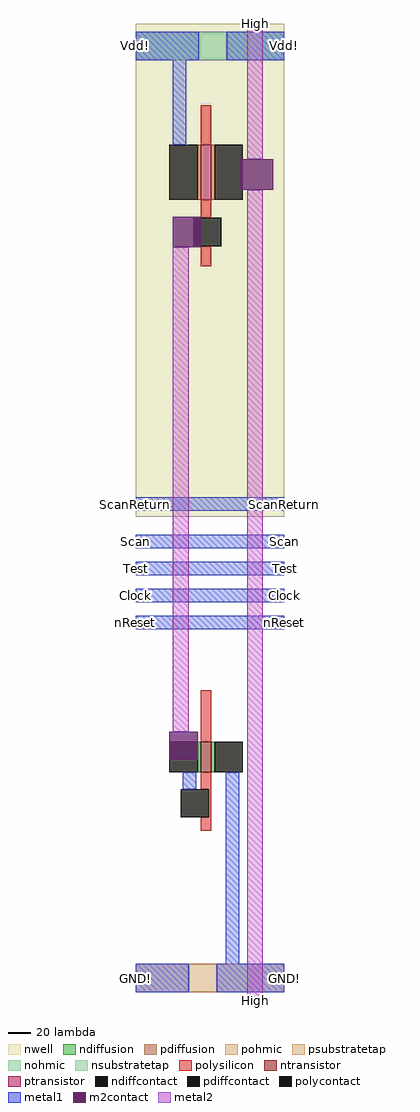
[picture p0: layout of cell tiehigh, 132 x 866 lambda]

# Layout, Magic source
magic
tech tsmc180
<< nwell >>
rect 0 429 132 866
<< polysilicon >>
rect 58 759 67 794
rect 58 694 67 710
rect 58 651 67 669
rect 58 229 67 275
rect 58 187 67 202
rect 65 162 67 187
rect 58 150 67 162
<< ndiffusion >>
rect 55 202 58 229
rect 67 202 70 229
<< pdiffusion >>
rect 55 710 58 759
rect 67 710 70 759
<< pohmic >>
rect 0 7 47 32
rect 72 7 132 32
<< nohmic >>
rect 0 834 56 859
rect 81 834 132 859
<< ntransistor >>
rect 58 202 67 229
<< ptransistor >>
rect 58 710 67 759
<< polycontact >>
rect 51 669 76 694
rect 40 162 65 187
<< ndiffcontact >>
rect 30 202 55 229
rect 70 202 95 229
<< pdiffcontact >>
rect 30 710 55 759
rect 70 710 95 759
<< psubstratetap >>
rect 47 7 72 32
<< nsubstratetap >>
rect 56 834 81 859
<< metal1 >>
rect 0 834 56 859
rect 81 834 132 859
rect 33 759 45 834
rect 0 434 132 446
rect 0 401 132 413
rect 0 377 132 389
rect 0 353 132 365
rect 0 329 132 341
rect 42 187 54 202
rect 80 32 92 202
rect 0 7 47 32
rect 72 7 132 32
<< m2contact >>
rect 93 719 95 746
rect 95 719 122 746
rect 33 694 58 695
rect 33 669 51 694
rect 51 669 58 694
rect 33 668 58 669
rect 30 229 55 238
rect 30 213 55 229
<< metal2 >>
rect 99 746 113 866
rect 33 238 47 668
rect 99 0 113 719
<< labels >>
rlabel metal1 0 434 0 446 3 ScanReturn
rlabel metal1 0 401 0 413 3 Scan
rlabel metal1 132 401 132 413 7 Scan
rlabel metal1 0 377 0 389 3 Test
rlabel metal1 132 377 132 389 7 Test
rlabel metal1 0 353 0 365 3 Clock
rlabel metal1 132 353 132 365 7 Clock
rlabel metal1 0 329 0 341 3 nReset
rlabel metal1 132 329 132 341 7 nReset
rlabel metal1 0 7 0 32 3 GND!
rlabel metal1 132 7 132 32 7 GND!
rlabel metal1 0 834 0 859 3 Vdd!
rlabel metal1 132 834 132 859 7 Vdd!
rlabel metal1 132 434 132 446 7 ScanReturn
rlabel metal2 99 866 113 866 5 High
rlabel metal2 99 0 113 0 1 High
<< end >>
